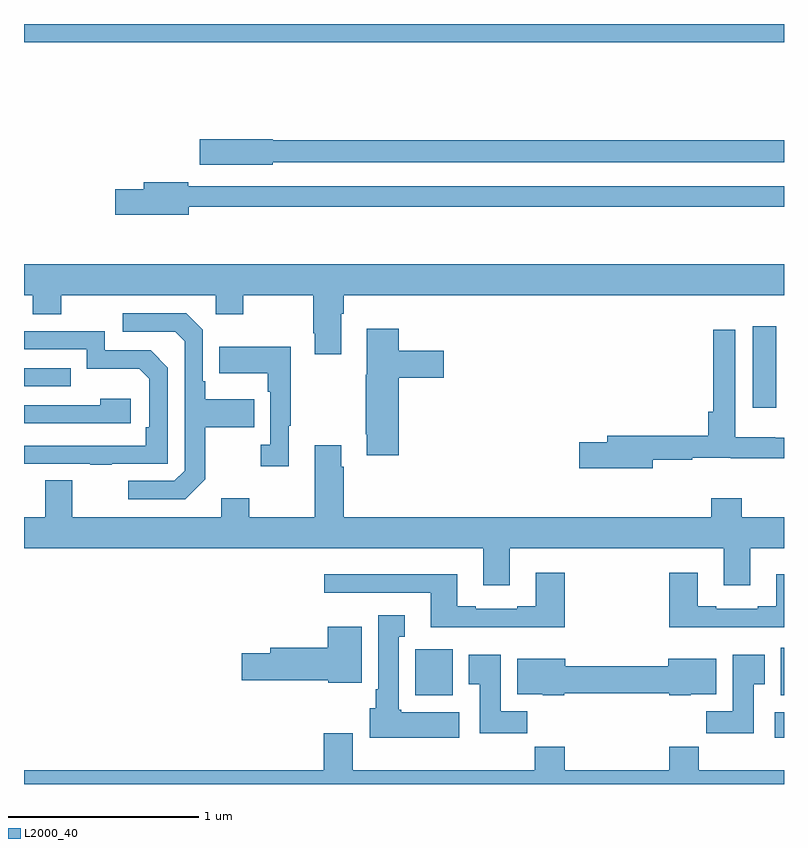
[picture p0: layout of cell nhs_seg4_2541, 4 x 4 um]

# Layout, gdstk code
import gdstk
lib = gdstk.Library(unit=1e-6, precision=1e-09)
def R(c, l, rs):  # rectangles x0, y0, x1, y1
    for r in rs: c.add(gdstk.rectangle(r[:2], r[2:], *l))
def P(c, l, *ps):  # polygons
    for p in ps: c.add(gdstk.Polygon(p, *l))
L2000_40 = (2000, 40)

nhs_seg4_2541 = lib.new_cell('nhs_seg4_2541')
R(nhs_seg4_2541, L2000_40, [(246.951,809.144,247,809.278), (245.06,809.366,245.257,809.608), (246.983,809.366,247,809.617), (246.836,810.879,246.958,811.309), (243,810.993,243.245,811.089), (243,812.804,247,812.9)])
P(nhs_seg4_2541, L2000_40, [(244.308,812.172),(247,812.172),(247,812.288),(244.308,812.288),(244.308,812.294),(243.924,812.294),(243.924,812.159),(244.308,812.159)],
  [(243.868,811.938),(247,811.938),(247,812.046),(243.864,812.046),(243.864,812.066),(243.629,812.066),(243.629,812.03),(243.48,812.03),(243.48,811.895),(243.868,811.895)],
  [(244.669,811.376),(244.682,811.376),(244.682,811.472),(247,811.472),(247,811.636),(243,811.636),(243,811.472),(243.047,811.472),(243.047,811.373),(243.195,811.373),(243.195,811.472),(244.008,811.472),(244.008,811.373),(244.155,811.373),(244.155,811.472),(244.522,811.472),(244.522,811.273),(244.529,811.273),(244.529,811.161),(244.669,811.161)],
  [(243.955,810.505),(243.955,810.778),(244.211,810.778),(244.211,810.925),(243.955,810.925),(243.955,811.021),(243.942,811.021),(243.942,811.29),(243.855,811.377),(243.519,811.377),(243.519,811.281),(243.795,811.281),(243.846,811.23),(243.846,810.549),(243.792,810.495),(243.549,810.495),(243.549,810.399),(243.849,810.399)],
  [(244.973,811.037),(245.209,811.037),(245.209,811.179),(244.973,811.179),(244.973,811.297),(244.805,811.297),(244.805,811.053),(244.798,811.053),(244.798,810.742),(244.805,810.742),(244.805,810.63),(244.973,810.63)],
  [(246.31,810.606),(246.518,810.606),(246.518,810.617),(246.72,810.617),(246.72,810.615),(247,810.615),(247,810.723),(246.954,810.723),(246.954,810.724),(246.744,810.724),(246.744,811.291),(246.628,811.291),(246.628,810.859),(246.602,810.859),(246.602,810.734),(246.071,810.734),(246.071,810.698),(245.922,810.698),(245.922,810.563),(246.31,810.563)],
  [(243.461,810.585),(243.756,810.585),(243.756,811.092),(243.666,811.182),(243.426,811.182),(243.426,811.284),(243,811.284),(243,811.188),(243.33,811.188),(243.33,811.085),(243.607,811.085),(243.66,811.032),(243.66,810.778),(243.64,810.778),(243.64,810.681),(243,810.681),(243,810.585),(243.349,810.585),(243.349,810.58),(243.461,810.58)],
  [(244.393,810.785),(244.405,810.785),(244.405,811.201),(244.027,811.201),(244.027,811.061),(244.284,811.061),(244.284,810.965),(244.296,810.965),(244.296,810.686),(244.245,810.686),(244.245,810.573),(244.393,810.573)],
  [(243.562,810.928),(243.401,810.928),(243.401,810.894),(243,810.894),(243,810.798),(243.562,810.798)],
  [(245.557,810.14),(246.683,810.14),(246.683,809.946),(246.823,809.946),(246.823,810.14),(247,810.14),(247,810.304),(246.777,810.304),(246.777,810.403),(246.617,810.403),(246.617,810.304),(244.682,810.304),(244.682,810.569),(244.669,810.569),(244.669,810.682),(244.529,810.682),(244.529,810.304),(244.185,810.304),(244.185,810.403),(244.037,810.403),(244.037,810.304),(243.253,810.304),(243.253,810.499),(243.113,810.499),(243.113,810.304),(243,810.304),(243,810.14),(245.417,810.14),(245.417,809.946),(245.557,809.946)],
  [(245.846,810.013),(245.693,810.013),(245.693,809.836),(245.597,809.836),(245.597,809.823),(245.377,809.823),(245.377,809.836),(245.281,809.836),(245.281,810.004),(244.581,810.004),(244.581,809.907),(245.141,809.907),(245.141,809.726),(245.846,809.726)],
  [(247,810.004),(246.959,810.004),(246.959,809.836),(246.863,809.836),(246.863,809.823),(246.643,809.823),(246.643,809.836),(246.547,809.836),(246.547,810.013),(246.395,810.013),(246.395,809.726),(247,809.726)],
  [(245.29,809.278),(244.986,809.278),(244.986,809.292),(244.972,809.292),(244.972,809.675),(245.005,809.675),(245.005,809.788),(244.865,809.788),(244.865,809.398),(244.85,809.398),(244.85,809.298),(244.82,809.298),(244.82,809.144),(245.29,809.144)],
  [(244.777,809.728),(244.598,809.728),(244.598,809.618),(244.295,809.618),(244.295,809.588),(244.146,809.588),(244.146,809.446),(244.602,809.446),(244.602,809.432),(244.777,809.432)],
  [(245.648,809.284),(245.509,809.284),(245.509,809.581),(245.342,809.581),(245.342,809.425),(245.399,809.425),(245.399,809.166),(245.648,809.166)],
  [(246.841,809.425),(246.898,809.425),(246.898,809.581),(246.731,809.581),(246.731,809.284),(246.592,809.284),(246.592,809.166),(246.841,809.166)],
  [(245.844,809.377),(246.396,809.377),(246.396,809.366),(246.51,809.366),(246.51,809.372),(246.643,809.372),(246.643,809.56),(246.392,809.56),(246.392,809.519),(245.848,809.519),(245.848,809.56),(245.597,809.56),(245.597,809.372),(245.73,809.372),(245.73,809.366),(245.844,809.366)],
  [(247,808.972),(246.551,808.972),(246.551,809.096),(246.395,809.096),(246.395,808.972),(245.846,808.972),(245.846,809.096),(245.689,809.096),(245.689,808.972),(244.729,808.972),(244.729,809.167),(244.577,809.167),(244.577,808.972),(243,808.972),(243,808.9),(247,808.9)])

lib.write_gds('nhs_seg4_2541.gds')
